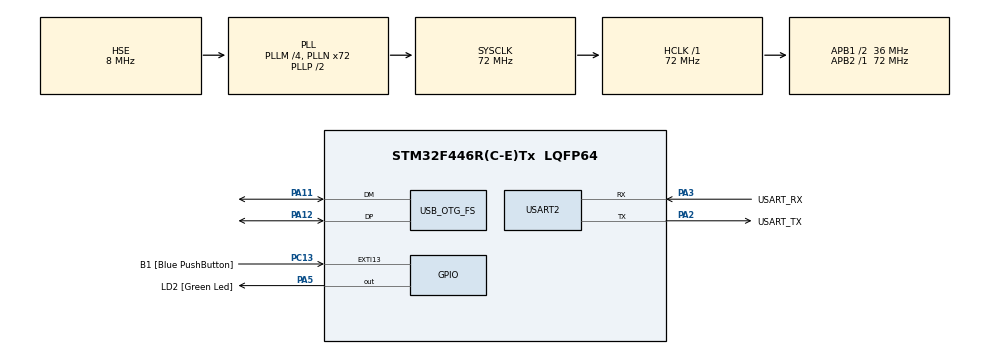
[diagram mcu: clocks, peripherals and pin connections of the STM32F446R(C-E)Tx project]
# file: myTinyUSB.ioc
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Mcu.Family=STM32F4
Mcu.Name=STM32F446R(C-E)Tx
Mcu.Package=LQFP64
NVIC.OTG_FS_IRQn=true\:0\:0\:false\:false\:true\:true\:true\:true
NVIC.PriorityGroup=NVIC_PRIORITYGROUP_0
PA11.Mode=Device_Only
PA11.Signal=USB_OTG_FS_DM
PA12.Mode=Device_Only
PA12.Signal=USB_OTG_FS_DP
PA13.GPIO_Label=TMS
PA13.Mode=Serial_Wire
PA13.Signal=SYS_JTMS-SWDIO
PA14.GPIO_Label=TCK
PA14.Mode=Serial_Wire
PA14.Signal=SYS_JTCK-SWCLK
PA2.GPIO_Label=USART_TX
PA2.Mode=Asynchronous
PA2.Signal=USART2_TX
PA3.GPIO_Label=USART_RX
PA3.Mode=Asynchronous
PA3.Signal=USART2_RX
PA5.GPIO_Label=LD2 [Green Led]
PA5.Signal=GPIO_Output
PB3.GPIO_Label=SWO
PB3.Signal=SYS_JTDO-SWO
PC13.GPIO_Label=B1 [Blue PushButton]
PC13.GPIO_ModeDefaultEXTI=GPIO_MODE_IT_FALLING
PC13.Signal=GPXTI13
PC14-OSC32_IN.Mode=LSE-External-Oscillator
PC14-OSC32_IN.Signal=RCC_OSC32_IN
PC15-OSC32_OUT.Mode=LSE-External-Oscillator
PC15-OSC32_OUT.Signal=RCC_OSC32_OUT
PH0-OSC_IN.Mode=HSE-External-Oscillator
PH0-OSC_IN.Signal=RCC_OSC_IN
PH1-OSC_OUT.Mode=HSE-External-Oscillator
PH1-OSC_OUT.Signal=RCC_OSC_OUT
ProjectManager.HeapSize=0x200
ProjectManager.StackSize=0x400
ProjectManager.TargetToolchain=STM32CubeIDE
RCC.48MHZClocksFreq_Value=84000000
RCC.AHBFreq_Value=72000000
RCC.APB1CLKDivider=RCC_HCLK_DIV2
RCC.APB1Freq_Value=36000000
RCC.APB1TimFreq_Value=72000000
RCC.APB2Freq_Value=72000000
RCC.APB2TimFreq_Value=72000000
RCC.CortexFreq_Value=72000000
RCC.FLatency-AdvancedSettings=FLASH_LATENCY_2
RCC.HCLKFreq_Value=72000000
RCC.HSE_VALUE=8000000
RCC.HSI_VALUE=16000000
RCC.PLLM=4
RCC.PLLN=72
RCC.PLLQ=3
RCC.SYSCLKFreq_VALUE=72000000
RCC.SYSCLKSource=RCC_SYSCLKSOURCE_PLLCLK
RCC.USBFreq_Value=48000000
RCC.VCOOutputFreq_Value=144000000
USART2.VirtualMode=VM_ASYNC
USB_OTG_FS.VirtualMode=Device_Only
board=NUCLEO-F446RE

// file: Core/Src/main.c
/* USER CODE BEGIN Header */
/**
  ******************************************************************************
  * @file           : main.c
  * @brief          : Main program body
  ******************************************************************************
  * @attention
  *
  * Copyright (c) 2024 STMicroelectronics.
  * All rights reserved.
  *
  * This software is licensed under terms that can be found in the LICENSE file
  * in the root directory of this software component.
  * If no LICENSE file comes with this software, it is provided AS-IS.
  *
  ******************************************************************************
  */
/* USER CODE END Header */
#include "main.h"

/* USER CODE BEGIN Includes */
#include "tusb.h"
#include <ctype.h>
/* USER CODE END Includes */

UART_HandleTypeDef huart2;

PCD_HandleTypeDef hpcd_USB_OTG_FS;

void SystemClock_Config(void);
static void MX_GPIO_Init(void);
static void MX_USART2_UART_Init(void);
static void MX_USB_OTG_FS_PCD_Init(void);

/* USER CODE BEGIN 0 */
static void echo_serial_port(uint8_t itf, uint8_t buf[], uint32_t count) {
  uint8_t const case_diff = 'a' - 'A';

  for (uint32_t i = 0; i < count; i++) {
    if (itf == 0) {
      // echo back 1st port as lower case
      if (isupper(buf[i])) buf[i] += case_diff;
    } else {
      // echo back 2nd port as upper case
      if (islower(buf[i])) buf[i] -= case_diff;
    }

    tud_cdc_n_write_char(itf, buf[i]);
  }
  tud_cdc_n_write_flush(itf);
}

// Invoked when device is mounted
void tud_mount_cb(void) {
  //Do nothing for now
}

// Invoked when device is unmounted
void tud_umount_cb(void) {
  //Do nothing for now
}

static void cdc_task(void) {
  uint8_t itf;

  for (itf = 0; itf < CFG_TUD_CDC; itf++) {
    // connected() check for DTR bit
    // Most but not all terminal client set this when making connection
    // if ( tud_cdc_n_connected(itf) )
    {
      if (tud_cdc_n_available(itf)) {
        uint8_t buf[64];

        uint32_t count = tud_cdc_n_read(itf, buf, sizeof(buf));

        // echo back to both serial ports
        echo_serial_port(0, buf, count);
        echo_serial_port(1, buf, count);
      }
    }
  }
}
/* USER CODE END 0 */

int main(void)
{

  /* MCU Configuration--------------------------------------------------------*/

  /* Reset of all peripherals, Initializes the Flash interface and the Systick. */
  HAL_Init();

  /* Configure the system clock */
  SystemClock_Config();

  /* Initialize all configured peripherals */
  MX_GPIO_Init();
  MX_USART2_UART_Init();
  MX_USB_OTG_FS_PCD_Init();
  /* USER CODE BEGIN 2 */
  tud_init(BOARD_TUD_RHPORT);
  /* USER CODE END 2 */

  /* Infinite loop */
  while (1)
  {

    /* USER CODE BEGIN 3 */
    tud_task();
    cdc_task();
  }
  /* USER CODE END 3 */
}

void SystemClock_Config(void)
{
  RCC_OscInitTypeDef RCC_OscInitStruct = {0};
  RCC_ClkInitTypeDef RCC_ClkInitStruct = {0};

  /** Configure the main internal regulator output voltage
  */
  __HAL_RCC_PWR_CLK_ENABLE();
  __HAL_PWR_VOLTAGESCALING_CONFIG(PWR_REGULATOR_VOLTAGE_SCALE3);

  /** Initializes the RCC Oscillators according to the specified parameters
  * in the RCC_OscInitTypeDef structure.
  */
  RCC_OscInitStruct.OscillatorType = RCC_OSCILLATORTYPE_HSE;
  RCC_OscInitStruct.HSEState = RCC_HSE_ON;
  RCC_OscInitStruct.PLL.PLLState = RCC_PLL_ON;
  RCC_OscInitStruct.PLL.PLLSource = RCC_PLLSOURCE_HSE;
  RCC_OscInitStruct.PLL.PLLM = 4;
  RCC_OscInitStruct.PLL.PLLN = 72;
  RCC_OscInitStruct.PLL.PLLP = RCC_PLLP_DIV2;
  RCC_OscInitStruct.PLL.PLLQ = 3;
  RCC_OscInitStruct.PLL.PLLR = 2;
  if (HAL_RCC_OscConfig(&RCC_OscInitStruct) != HAL_OK)
  {
    Error_Handler();
  }

  /** Initializes the CPU, AHB and APB buses clocks
  */
  RCC_ClkInitStruct.ClockType = RCC_CLOCKTYPE_HCLK|RCC_CLOCKTYPE_SYSCLK
                              |RCC_CLOCKTYPE_PCLK1|RCC_CLOCKTYPE_PCLK2;
  RCC_ClkInitStruct.SYSCLKSource = RCC_SYSCLKSOURCE_PLLCLK;
  RCC_ClkInitStruct.AHBCLKDivider = RCC_SYSCLK_DIV1;
  RCC_ClkInitStruct.APB1CLKDivider = RCC_HCLK_DIV2;
  RCC_ClkInitStruct.APB2CLKDivider = RCC_HCLK_DIV1;

  if (HAL_RCC_ClockConfig(&RCC_ClkInitStruct, FLASH_LATENCY_2) != HAL_OK)
  {
    Error_Handler();
  }
}

static void MX_USART2_UART_Init(void)
{

  huart2.Instance = USART2;
  huart2.Init.BaudRate = 115200;
  huart2.Init.WordLength = UART_WORDLENGTH_8B;
  huart2.Init.StopBits = UART_STOPBITS_1;
  huart2.Init.Parity = UART_PARITY_NONE;
  huart2.Init.Mode = UART_MODE_TX_RX;
  huart2.Init.HwFlowCtl = UART_HWCONTROL_NONE;
  huart2.Init.OverSampling = UART_OVERSAMPLING_16;
  if (HAL_UART_Init(&huart2) != HAL_OK)
  {
    Error_Handler();
  }

}

static void MX_USB_OTG_FS_PCD_Init(void)
{

  hpcd_USB_OTG_FS.Instance = USB_OTG_FS;
  hpcd_USB_OTG_FS.Init.dev_endpoints = 6;
  hpcd_USB_OTG_FS.Init.speed = PCD_SPEED_FULL;
  hpcd_USB_OTG_FS.Init.dma_enable = DISABLE;
  hpcd_USB_OTG_FS.Init.phy_itface = PCD_PHY_EMBEDDED;
  hpcd_USB_OTG_FS.Init.Sof_enable = DISABLE;
  hpcd_USB_OTG_FS.Init.low_power_enable = DISABLE;
  hpcd_USB_OTG_FS.Init.lpm_enable = DISABLE;
  hpcd_USB_OTG_FS.Init.vbus_sensing_enable = DISABLE;
  hpcd_USB_OTG_FS.Init.use_dedicated_ep1 = DISABLE;
  if (HAL_PCD_Init(&hpcd_USB_OTG_FS) != HAL_OK)
  {
    Error_Handler();
  }

}

static void MX_GPIO_Init(void)
{
  GPIO_InitTypeDef GPIO_InitStruct = {0};

  /* GPIO Ports Clock Enable */
  __HAL_RCC_GPIOC_CLK_ENABLE();
  __HAL_RCC_GPIOH_CLK_ENABLE();
  __HAL_RCC_GPIOA_CLK_ENABLE();
  __HAL_RCC_GPIOB_CLK_ENABLE();

  /*Configure GPIO pin Output Level */
  HAL_GPIO_WritePin(LD2_GPIO_Port, LD2_Pin, GPIO_PIN_RESET);

  /*Configure GPIO pin : B1_Pin */
  GPIO_InitStruct.Pin = B1_Pin;
  GPIO_InitStruct.Mode = GPIO_MODE_IT_FALLING;
  GPIO_InitStruct.Pull = GPIO_NOPULL;
  HAL_GPIO_Init(B1_GPIO_Port, &GPIO_InitStruct);

  /*Configure GPIO pin : LD2_Pin */
  GPIO_InitStruct.Pin = LD2_Pin;
  GPIO_InitStruct.Mode = GPIO_MODE_OUTPUT_PP;
  GPIO_InitStruct.Pull = GPIO_NOPULL;
  GPIO_InitStruct.Speed = GPIO_SPEED_FREQ_LOW;
  HAL_GPIO_Init(LD2_GPIO_Port, &GPIO_InitStruct);

}

void Error_Handler(void)
{
  __disable_irq();
  while (1)
  {
  }
}
